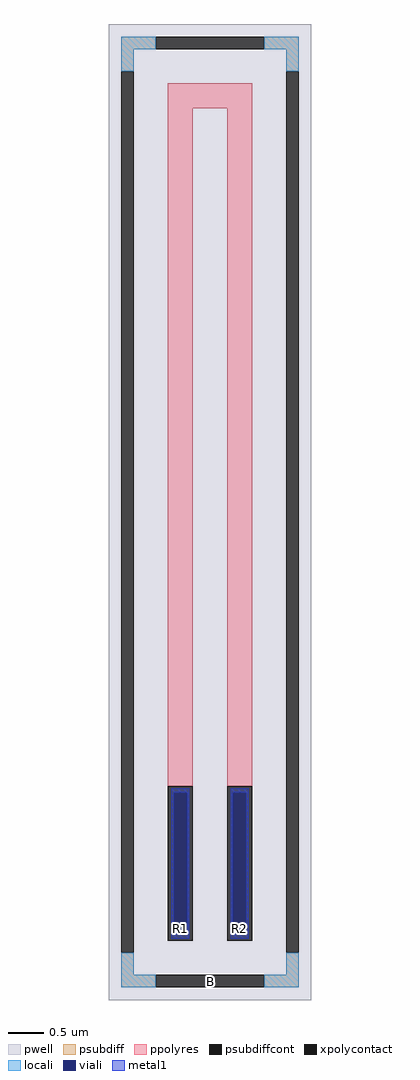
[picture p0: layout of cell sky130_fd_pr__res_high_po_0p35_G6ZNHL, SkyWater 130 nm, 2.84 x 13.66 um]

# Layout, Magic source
magic
tech sky130A
magscale 1 2
<< pwell >>
rect -284 -1366 284 1366
<< psubdiff >>
rect -248 1296 -152 1330
rect 152 1296 248 1330
rect -248 1234 -214 1296
rect 214 1234 248 1296
rect -248 -1296 -214 -1234
rect 214 -1296 248 -1234
rect -248 -1330 -152 -1296
rect 152 -1330 248 -1296
<< psubdiffcont >>
rect -152 1296 152 1330
rect -248 -1234 -214 1234
rect 214 -1234 248 1234
rect -152 -1330 152 -1296
<< xpolycontact >>
rect -118 -1200 -48 -768
rect 48 -1200 118 -768
<< ppolyres >>
rect -118 1130 118 1200
rect -118 -768 -48 1130
rect 48 -768 118 1130
<< locali >>
rect -248 1296 -152 1330
rect 152 1296 248 1330
rect -248 1234 -214 1296
rect 214 1234 248 1296
rect -248 -1296 -214 -1234
rect 214 -1296 248 -1234
rect -248 -1330 -152 -1296
rect 152 -1330 248 -1296
<< viali >>
rect -102 -1182 -64 -785
rect 64 -1182 102 -785
<< metal1 >>
rect -108 -785 -58 -773
rect -108 -1182 -102 -785
rect -64 -1182 -58 -785
rect -108 -1194 -58 -1182
rect 58 -785 108 -773
rect 58 -1182 64 -785
rect 102 -1182 108 -785
rect 58 -1194 108 -1182
<< labels >>
rlabel psubdiffcont 0 -1313 0 -1313 0 B
port 1 nsew
rlabel xpolycontact -83 -1165 -83 -1165 0 R1
port 2 nsew
rlabel xpolycontact 83 -1165 83 -1165 0 R2
port 3 nsew
<< properties >>
string FIXED_BBOX -231 -1313 231 1313
string gencell sky130_fd_pr__res_high_po_0p35
string library sky130
string parameters w 0.35 l 12.0 m 1 nx 2 wmin 0.350 lmin 0.50 class resistor rho 319.8 val 23.362k dummy 0 dw 0.0 term 194.82 sterm 0.0 caplen 0 guard 1 glc 1 grc 1 gtc 1 gbc 1 compatible {sky130_fd_pr__res_high_po_0p35  sky130_fd_pr__res_high_po_0p69 sky130_fd_pr__res_high_po_1p41  sky130_fd_pr__res_high_po_2p85 sky130_fd_pr__res_high_po_5p73} snake 1 full_metal 1 wmax 0.350 vias 1 n_guard 0 hv_guard 0 viagb 0 viagt 0 viagl 0 viagr 0 doports 1
<< end >>
